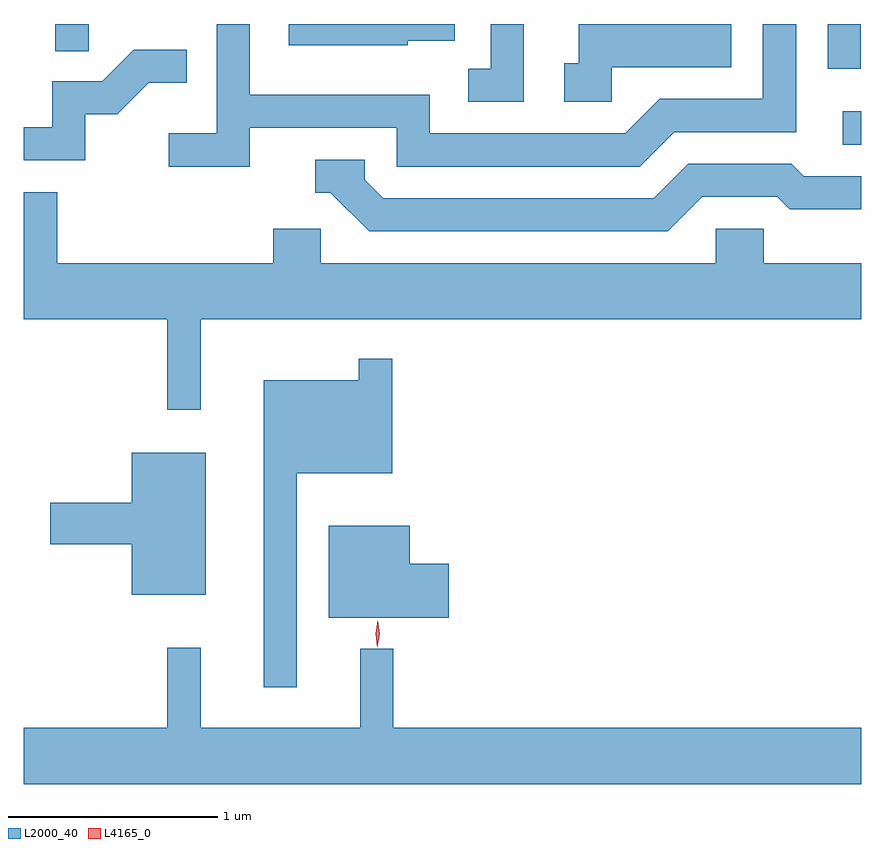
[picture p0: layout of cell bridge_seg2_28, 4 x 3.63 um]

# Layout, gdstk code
import gdstk
lib = gdstk.Library(unit=1e-6, precision=1e-09)
def R(c, l, rs):  # rectangles x0, y0, x1, y1
    for r in rs: c.add(gdstk.rectangle(r[:2], r[2:], *l))
def P(c, l, *ps):  # polygons
    for p in ps: c.add(gdstk.Polygon(p, *l))
L2000_40 = (2000, 40)
L4165_0 = (4165, 0)

bridge_seg2_28 = lib.new_cell('bridge_seg2_28')
R(bridge_seg2_28, L2000_40, [(1538.103,1097.991,1538.19,1098.149), (1538.031,1098.353,1538.189,1098.567), (1534.341,1098.438,1534.499,1098.567)])
P(bridge_seg2_28, L2000_40, [(1536.024,1098.486),(1536.249,1098.486),(1536.249,1098.567),(1535.456,1098.567),(1535.456,1098.466),(1536.024,1098.466)],
  [(1536.999,1098.361),(1537.569,1098.361),(1537.569,1098.567),(1536.841,1098.567),(1536.841,1098.379),(1536.771,1098.379),(1536.771,1098.196),(1536.999,1098.196)],
  [(1535.269,1098.071),(1535.971,1098.071),(1535.971,1097.886),(1537.132,1097.886),(1537.297,1098.051),(1537.879,1098.051),(1537.879,1098.567),(1537.721,1098.567),(1537.721,1098.209),(1537.229,1098.209),(1537.064,1098.044),(1536.129,1098.044),(1536.129,1098.229),(1535.269,1098.229),(1535.269,1098.567),(1535.111,1098.567),(1535.111,1098.044),(1534.883,1098.044),(1534.883,1097.886),(1535.269,1097.886)],
  [(1536.579,1098.567),(1536.421,1098.567),(1536.421,1098.354),(1536.313,1098.354),(1536.313,1098.196),(1536.579,1098.196)],
  [(1534.484,1098.136),(1534.637,1098.136),(1534.787,1098.286),(1534.968,1098.286),(1534.968,1098.444),(1534.714,1098.444),(1534.564,1098.294),(1534.326,1098.294),(1534.326,1098.074),(1534.19,1098.074),(1534.19,1097.916),(1534.484,1097.916)],
  [(1537.432,1097.741),(1537.789,1097.741),(1537.849,1097.681),(1538.19,1097.681),(1538.19,1097.839),(1537.917,1097.839),(1537.857,1097.899),(1537.364,1097.899),(1537.199,1097.734),(1535.907,1097.734),(1535.819,1097.822),(1535.819,1097.919),(1535.583,1097.919),(1535.583,1097.761),(1535.654,1097.761),(1535.839,1097.576),(1537.267,1097.576)],
  [(1534.349,1097.764),(1534.19,1097.764),(1534.19,1097.156),(1534.876,1097.156),(1534.876,1096.723),(1535.034,1096.723),(1535.034,1097.156),(1538.19,1097.156),(1538.19,1097.424),(1537.724,1097.424),(1537.724,1097.589),(1537.496,1097.589),(1537.496,1097.424),(1535.609,1097.424),(1535.609,1097.589),(1535.381,1097.589),(1535.381,1097.424),(1534.349,1097.424)],
  [(1535.494,1096.421),(1535.949,1096.421),(1535.949,1096.968),(1535.791,1096.968),(1535.791,1096.864),(1535.336,1096.864),(1535.336,1095.398),(1535.494,1095.398)],
  [(1535.059,1096.519),(1534.706,1096.519),(1534.706,1096.279),(1534.316,1096.279),(1534.316,1096.081),(1534.706,1096.081),(1534.706,1095.841),(1535.059,1095.841)],
  [(1536.219,1095.989),(1536.034,1095.989),(1536.034,1096.169),(1535.646,1096.169),(1535.646,1095.731),(1536.219,1095.731)],
  [(1538.19,1095.204),(1535.954,1095.204),(1535.954,1095.583),(1535.796,1095.583),(1535.796,1095.204),(1535.034,1095.204),(1535.034,1095.588),(1534.876,1095.588),(1534.876,1095.204),(1534.19,1095.204),(1534.19,1094.936),(1538.19,1094.936)])
P(bridge_seg2_28, L4165_0, [(1535.878,1095.589),(1535.878,1095.589),(1535.87,1095.654),(1535.88,1095.719),(1535.881,1095.719),(1535.881,1095.719),(1535.89,1095.654),(1535.879,1095.589)])

lib.write_gds('bridge_seg2_28.gds')
